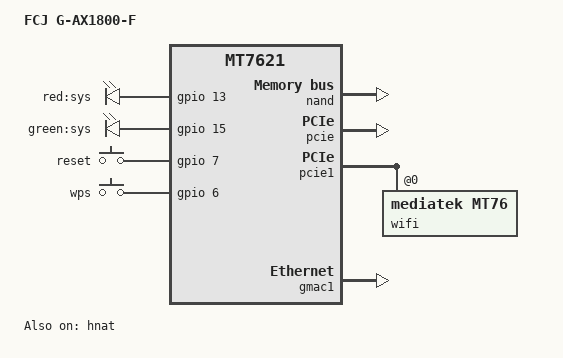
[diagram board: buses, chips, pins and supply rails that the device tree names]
// SPDX-License-Identifier: GPL-2.0-or-later OR MIT

#include "mt7621.dtsi"

#include <dt-bindings/gpio/gpio.h>
#include <dt-bindings/input/input.h>

/ {
	compatible = "fcj,g-ax1800-f", "mediatek,mt7621-soc";
	model = "FCJ G-AX1800-F";

	aliases {
		led-boot = &led_status_red;
		led-failsafe = &led_status_green;
		led-running = &led_status_green;
		led-upgrade = &led_status_red;
		label-mac-device = &gmac0;
	};

	chosen {
		bootargs = "console=ttyS0,115200";
		bootargs-override = "console=ttyS0,115200";
	};

	leds {
		compatible = "gpio-leds";

		led_status_red: sys_red {
			label = "red:sys";
			gpios = <&gpio 13 GPIO_ACTIVE_HIGH>;
		};

		led_status_green: sys_green {
			label = "green:sys";
			gpios = <&gpio 15 GPIO_ACTIVE_HIGH>;
		};
	};

	keys {
		compatible = "gpio-keys";

		reset {
			label = "reset";
			gpios = <&gpio 7 GPIO_ACTIVE_HIGH>;
			linux,code = <KEY_RESTART>;
		};

		wps {
			label = "wps";
			gpios = <&gpio 6 GPIO_ACTIVE_HIGH>;
			linux,code = <KEY_WPS_BUTTON>;
		};
	};
};

&nand {
	status = "okay";
	
	mediatek,nmbm;
	mediatek,bmt-max-ratio = <1>;
	mediatek,bmt-max-reserved-blocks = <64>;
	mediatek,bmt-remap-range = <0x0000000 0x0a00000>;

	partitions {
		compatible = "fixed-partitions";
		#address-cells = <1>;
		#size-cells = <1>;

		partition@0 {
			label = "Bootloader";
			reg = <0x0000000 0x0080000>;
			read-only;
		};

		partition@80000 {
			label = "Config";
			reg = <0x0080000 0x0080000>;
		};

		factory: partition@100000 {
			label = "Factory";
			reg = <0x0100000 0x0080000>;
			read-only;
		};

		partition@180000 {
			label = "kernel";
			reg = <0x180000 0x800000>;
		};

		partition@980000 {
			label = "ubi";
			reg = <0x980000 0x6e80000>;
		};
	};
};

&pcie {
	status = "okay";
};

&pcie1 {
	wifi@0,0 {
		compatible = "mediatek,mt76";
		reg = <0x0000 0 0 0 0>;
		mediatek,mtd-eeprom = <&factory 0x0>;
	};
};

&gmac0 {
	mtd-mac-address = <&factory 0x3fff4>;
};

&gmac1 {
	mtd-mac-address = <&factory 0x3fffa>;
	status = "okay";
};

&gsw {
	mediatek,mdio = <&mdio>;
	mediatek,portmap = "llllw";
	mediatek,mcm;
	mt7530,direct-phy-access;

	resets = <&rstctrl 2>;
	reset-names = "mcm";

	port5: port@5 {
		compatible = "mediatek,mt753x-port";
		reg = <5>;
		phy-mode = "rgmii";
		fixed-link {
			speed = <1000>;
			full-duplex;
		};
	};

	port6: port@6 {
		compatible = "mediatek,mt753x-port";
		reg = <6>;
		phy-mode = "rgmii";
		fixed-link {
			speed = <1000>;
			full-duplex;
		};
	};

	mdio-bus {
		#address-cells = <1>;
		#size-cells = <0>;
	};
};

&switch0 {
	/* must delete compatible property */
	/delete-property/ compatible;
};

&hnat {
        mtketh-wan = "eth1";
        mtketh-ppd = "eth0";
        mtketh-lan = "eth0";
        ext-devices = "wlan0","wlan1","rax0","ra0", "rai0","apclii0","apclix0", "apcli0";
        mtketh-max-gmac = <2>;
        status = "okay";
};

&state_default {
	gpio {
		groups = "jtag", "uart3", "wdt";
		function = "gpio";
	};
};

&factory {
	compatible = "nvmem-cells";
	#address-cells = <1>;
	#size-cells = <1>;

	macaddr_factory_3fff4: macaddr@3fff4 {
		reg = <0x3fff4 0x6>;
	};

	macaddr_factory_3fffa: macaddr@3fffa {
		reg = <0x3fffa 0x6>;
	};
};
